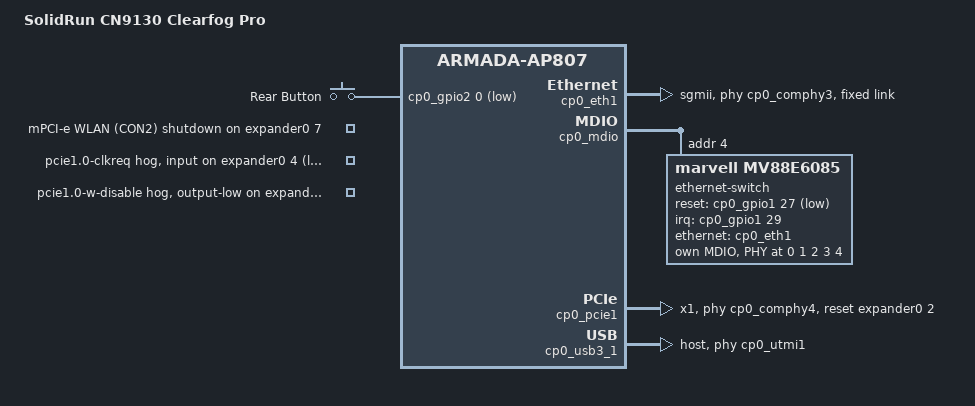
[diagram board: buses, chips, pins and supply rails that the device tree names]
// SPDX-License-Identifier: GPL-2.0+
/*
 * Copyright (C) 2024 Josua Mayer <josua@solid-run.com>
 *
 * DTS for SolidRun CN9130 Clearfog Pro.
 *
 */

/dts-v1/;

#include <dt-bindings/input/input.h>

#include "cn9130.dtsi"
#include "cn9130-sr-som.dtsi"
#include "cn9130-cf.dtsi"

/ {
	model = "SolidRun CN9130 Clearfog Pro";
	compatible = "solidrun,clearfog-pro-a1", "solidrun,clearfog-a1",
		     "solidrun,cn9130-sr-som","marvell,cn9130",
		     "marvell,armada-ap807-quad", "marvell,armada-ap807";

	gpio-keys {
		compatible = "gpio-keys";
		pinctrl-0 = <&rear_button_pins>;
		pinctrl-names = "default";

		button-0 {
			/* The rear SW3 button */
			label = "Rear Button";
			gpios = <&cp0_gpio2 0 GPIO_ACTIVE_LOW>;
			linux,can-disable;
			linux,code = <BTN_0>;
		};
	};

	/* mini-pcie w-disable could be either wlan or wwan */
	rfkill-mpcie1-xxan {
		compatible = "rfkill-gpio";
		label = "mPCI-e WLAN (CON2)";
		radio-type = "wlan";
		/* rfkill-gpio inverts internally */
		shutdown-gpios = <&expander0 7 GPIO_ACTIVE_HIGH>;
	};
};

/* SRDS #3 - SGMII 1GE to L2 switch */
&cp0_eth1 {
	phys = <&cp0_comphy3 1>;
	phy-mode = "sgmii";
	status = "okay";

	fixed-link {
		speed = <1000>;
		full-duplex;
	};
};

&cp0_eth2_phy {
	/*
	 * Configure LEDs similar to switch ports:
	 * - LED[0]: link/activity: On/blink (green)
	 * - LED[1]: link is 100/1000Mbps: On (red)
	 * - LED[2]: high impedance (floating)
	 *
	 * Switch port defaults:
	 * - LED0: link/activity: On/blink (green)
	 * - LED1: link is 1000Mbps: On (red)
	 *
	 * Identical configuration is impossible.
	 */
	marvell,reg-init = <3 16 0xf000 0x0a61>;
};

&cp0_mdio {
	ethernet-switch@4 {
		compatible = "marvell,mv88e6085";
		reg = <4>;
		pinctrl-0 = <&dsa_clk_pins &dsa_pins>;
		pinctrl-names = "default";
		reset-gpios = <&cp0_gpio1 27 GPIO_ACTIVE_LOW>;
		interrupt-parent = <&cp0_gpio1>;
		interrupts = <29 IRQ_TYPE_EDGE_FALLING>;

		ethernet-ports {
			#address-cells = <1>;
			#size-cells = <0>;

			ethernet-port@0 {
				reg = <0>;
				label = "lan5";
				phy = <&switch0phy0>;
			};

			ethernet-port@1 {
				reg = <1>;
				label = "lan4";
				phy = <&switch0phy1>;
			};

			ethernet-port@2 {
				reg = <2>;
				label = "lan3";
				phy = <&switch0phy2>;
			};

			ethernet-port@3 {
				reg = <3>;
				label = "lan2";
				phy = <&switch0phy3>;
			};

			ethernet-port@4 {
				reg = <4>;
				label = "lan1";
				phy = <&switch0phy4>;
			};

			ethernet-port@5 {
				reg = <5>;
				ethernet = <&cp0_eth1>;
				phy-mode = "sgmii";

				fixed-link {
					speed = <1000>;
					full-duplex;
				};
			};

			ethernet-port@6 {
				reg = <6>;
				label = "lan6";
				phy-mode = "rgmii";

				/*
				 * Because of mdio address conflict the
				 * external phy is not readable.
				 * Force a fixed link instead.
				 */
				fixed-link {
					speed = <1000>;
					full-duplex;
				};
			};
		};

		mdio {
			#address-cells = <1>;
			#size-cells = <0>;

			switch0phy0: ethernet-phy@0 {
				reg = <0x0>;
			};

			switch0phy1: ethernet-phy@1 {
				reg = <0x1>;
				/*
				 * Indirectly configure LEDs for port
				 * lan6 using external phy.
				 * Internal PHYs are not using page 3,
				 * therefore writing to it is safe.
				 */
				marvell,reg-init = <3 16 0xf000 0x0a61>;
			};

			switch0phy2: ethernet-phy@2 {
				reg = <0x2>;
			};

			switch0phy3: ethernet-phy@3 {
				reg = <0x3>;
			};

			switch0phy4: ethernet-phy@4 {
				reg = <0x4>;
			};
		};

		/*
		 * There is an external phy on the switch mdio bus.
		 * Because its mdio address collides with internal phys,
		 * it is not readable.
		 *
		 * mdio-external {
		 *	compatible = "marvell,mv88e6xxx-mdio-external";
		 *	#address-cells = <1>;
		 *	#size-cells = <0>;
		 *
		 *	ethernet-phy@1 {
		 *		reg = <0x1>;
		 *	};
		 * };
		 */
	};
};

/* SRDS #4 - miniPCIe (CON2) */
&cp0_pcie1 {
	num-lanes = <1>;
	phys = <&cp0_comphy4 1>;
	/* dw-pcie inverts internally */
	reset-gpios = <&expander0 2 GPIO_ACTIVE_HIGH>;
	status = "okay";
};

&cp0_pinctrl {
	dsa_clk_pins: cp0-dsa-clk-pins {
		marvell,pins = "mpp40";
		marvell,function = "synce1";
	};

	dsa_pins: cp0-dsa-pins {
		marvell,pins = "mpp27", "mpp29";
		marvell,function = "gpio";
	};

	rear_button_pins: cp0-rear-button-pins {
		marvell,pins = "mpp32";
		marvell,function = "gpio";
	};
};

/*
 * USB-2.0 Host on Type-A connector
 */
&cp0_usb3_1 {
	phys = <&cp0_utmi1>;
	phy-names = "utmi";
	dr_mode = "host";
	status = "okay";
};

&expander0 {
	/* CON2 */
	pcie1-0-clkreq-hog {
		gpio-hog;
		gpios = <4 GPIO_ACTIVE_LOW>;
		input;
		line-name = "pcie1.0-clkreq";
	};

	/* CON2 */
	pcie1-0-w-disable-hog {
		gpio-hog;
		gpios = <7 GPIO_ACTIVE_LOW>;
		output-low;
		line-name = "pcie1.0-w-disable";
	};
};
